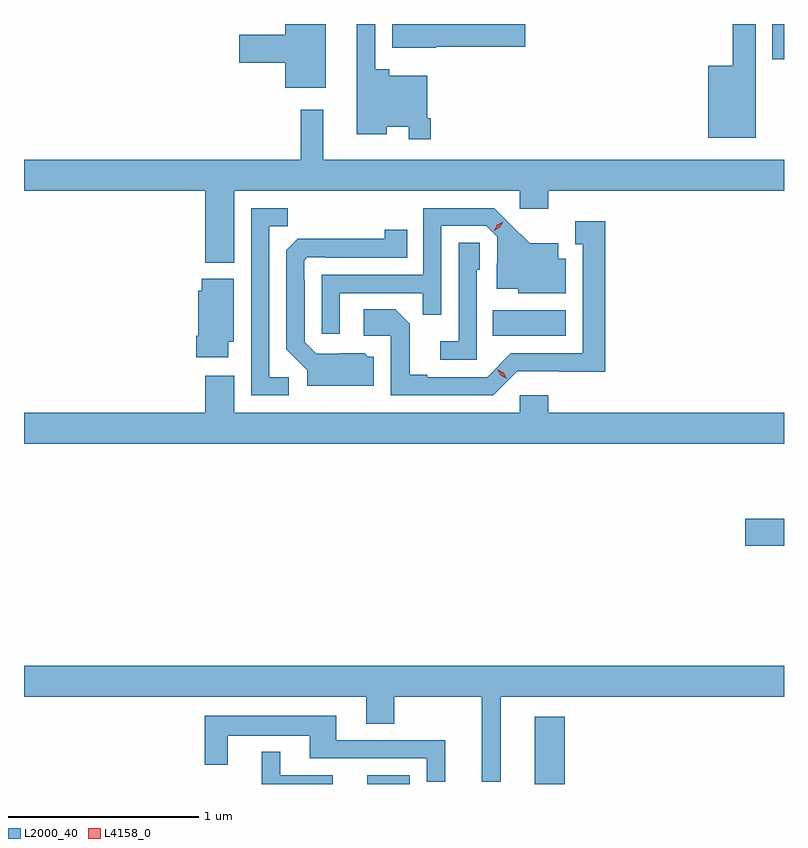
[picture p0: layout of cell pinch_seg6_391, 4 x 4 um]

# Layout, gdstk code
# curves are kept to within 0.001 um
import gdstk
lib = gdstk.Library(unit=1e-6, precision=1e-09)
def R(c, l, rs):  # rectangles x0, y0, x1, y1
    for r in rs: c.add(gdstk.rectangle(r[:2], r[2:], *l))
def P(c, l, *ps):  # polygons
    for p in ps: c.add(gdstk.Polygon(p, *l))
L2000_40 = (2000, 40)
L4158_0 = (4158, 0)

pinch_seg6_391 = lib.new_cell('pinch_seg6_391')
R(pinch_seg6_391, L2000_40, [(670.838,932.226,671.062,932.272), (671.72,932.226,671.879,932.581), (672.828,933.479,673.032,933.621), (671.5,934.586,671.884,934.72), (672.971,936.041,673.032,936.226)])
P(pinch_seg6_391, L2000_40, [(671.202,936.107),(671.671,936.107),(671.671,936.226),(670.97,936.226),(670.97,936.101),(671.202,936.101)],
  [(671.174,935.731),(671.154,935.731),(671.154,935.953),(670.955,935.953),(670.955,935.989),(670.881,935.989),(670.881,936.226),(670.784,936.226),(670.784,935.645),(670.942,935.645),(670.942,935.684),(671.058,935.684),(671.058,935.619),(671.174,935.619)],
  [(670.621,936.226),(670.406,936.226),(670.406,936.17),(670.164,936.17),(670.164,936.023),(670.406,936.023),(670.406,935.891),(670.621,935.891)],
  [(672.883,936.226),(672.762,936.226),(672.762,936.007),(672.632,936.007),(672.632,935.627),(672.883,935.627)],
  [(670.138,935.348),(671.64,935.348),(671.64,935.253),(671.792,935.253),(671.792,935.348),(673.032,935.348),(673.032,935.512),(670.606,935.512),(670.606,935.776),(670.489,935.776),(670.489,935.512),(669.032,935.512),(669.032,935.348),(669.986,935.348),(669.986,934.97),(670.138,934.97)],
  [(670.695,934.809),(671.131,934.809),(671.131,934.696),(671.229,934.696),(671.229,935.163),(671.466,935.163),(671.523,935.106),(671.523,934.964),(671.519,934.964),(671.519,934.832),(671.634,934.832),(671.634,934.808),(671.884,934.808),(671.884,934.99),(671.845,934.99),(671.845,935.071),(671.693,935.071),(671.506,935.256),(671.133,935.256),(671.133,934.905),(670.599,934.905),(670.599,934.596),(670.695,934.596)],
  [(670.426,934.368),(670.323,934.368),(670.323,935.161),(670.419,935.161),(670.419,935.256),(670.227,935.256),(670.227,934.272),(670.426,934.272)],
  [(671.628,934.398),(672.091,934.397),(672.091,935.188),(671.933,935.188),(671.933,935.067),(671.972,935.067),(671.972,934.494),(671.595,934.494),(671.469,934.368),(671.155,934.368),(671.155,934.381),(671.061,934.381),(671.061,934.648),(670.985,934.724),(670.821,934.724),(670.821,934.584),(670.962,934.584),(670.962,934.272),(671.502,934.272)],
  [(670.873,934.476),(670.842,934.476),(670.826,934.492),(670.569,934.491),(670.509,934.551),(670.509,934.88),(670.506,934.88),(670.506,934.98),(670.524,934.998),(670.624,934.998),(670.624,934.995),(671.048,934.995),(671.048,935.143),(670.93,935.143),(670.93,935.096),(670.472,935.095),(670.413,935.036),(670.413,934.514),(670.523,934.404),(670.523,934.322),(670.873,934.322)],
  [(671.415,934.932),(671.43,934.932),(671.43,935.075),(671.319,935.075),(671.319,934.555),(671.223,934.555),(671.223,934.458),(671.415,934.458)],
  [(670.108,934.554),(670.135,934.554),(670.135,934.885),(669.968,934.885),(669.968,934.821),(669.95,934.821),(669.95,934.585),(669.938,934.585),(669.938,934.473),(670.108,934.473)],
  [(673.032,934.18),(671.792,934.18),(671.792,934.273),(671.64,934.273),(671.64,934.18),(670.138,934.18),(670.138,934.375),(669.986,934.375),(669.986,934.18),(669.032,934.18),(669.032,934.016),(673.032,934.016)],
  [(669.032,932.684),(670.832,932.684),(670.832,932.542),(670.98,932.542),(670.98,932.684),(671.441,932.684),(671.441,932.238),(671.54,932.238),(671.54,932.684),(673.032,932.684),(673.032,932.848),(669.032,932.848)],
  [(671.249,932.457),(670.675,932.457),(670.675,932.584),(669.984,932.584),(669.984,932.328),(670.105,932.328),(670.105,932.48),(670.535,932.48),(670.535,932.361),(671.151,932.361),(671.151,932.238),(671.249,932.238)],
  [(670.658,932.271),(670.381,932.271),(670.381,932.395),(670.283,932.395),(670.283,932.226),(670.658,932.226)])
P(pinch_seg6_391, L4158_0, [(671.573,934.358),(671.542,934.377),(671.524,934.41),(671.524,934.41),(671.524,934.41),(671.556,934.391),(671.574,934.358),(671.574,934.358)],
  [(671.506,935.139),(671.506,935.14),(671.523,935.169),(671.554,935.184),(671.554,935.184),(671.554,935.184),(671.537,935.155),(671.507,935.139)])

lib.write_gds('pinch_seg6_391.gds')
